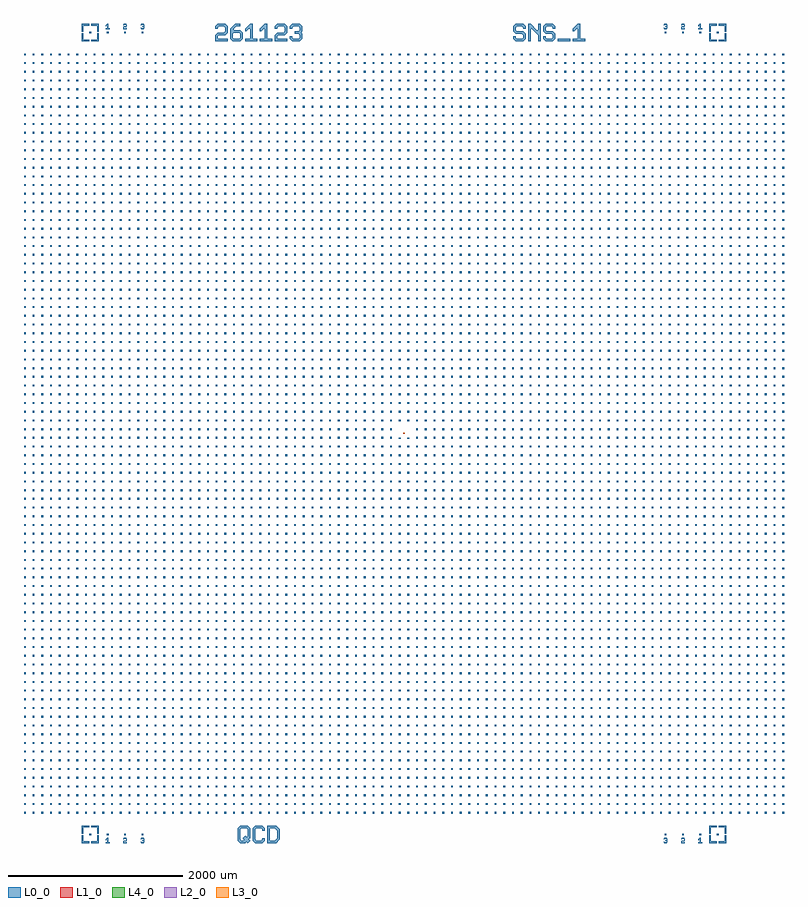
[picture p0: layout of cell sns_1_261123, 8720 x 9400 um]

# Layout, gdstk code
import gdstk
lib = gdstk.Library(unit=1e-6, precision=1e-09)
def R(c, l, rs):  # rectangles x0, y0, x1, y1
    for r in rs: c.add(gdstk.rectangle(r[:2], r[2:], *l))
def A(c, l, x, y, w, h, nx, ny, dx, dy):  # array of equal rectangles
    R(c, l, [(x+i*dx, y+j*dy, x+i*dx+w, y+j*dy+h) for i in range(nx) for j in range(ny)])
def P(c, l, *ps):  # polygons
    for p in ps: c.add(gdstk.Polygon(p, *l))
L0_0 = (0, 0)
L1_0 = (1, 0)
L2_0 = (2, 0)
L3_0 = (3, 0)
L4_0 = (4, 0)

sns_1_261123 = lib.new_cell('sns_1_261123')
A(sns_1_261123, L0_0, -3610, -4610, 20, 20, 4, 2, 200, 9200)
A(sns_1_261123, L0_0, 2990, -4610, 20, 20, 4, 2, 200, 9200)
A(sns_1_261123, L0_0, -4360, -4360, 20, 20, 88, 43, 100, 100)
A(sns_1_261123, L0_0, -4360, -60, 20, 20, 43, 2, 100, 100)
A(sns_1_261123, L0_0, 140, -60, 20, 20, 43, 2, 100, 100)
A(sns_1_261123, L0_0, -4360, 140, 20, 20, 88, 43, 100, 100)
R(sns_1_261123, L0_0, [(-60,-60,-40,-50), (40,-60,60,-50), (1766.667,4500,1909.524,4528.571)])
P(sns_1_261123, L0_0, [(3610,4500),(3610,4520),(3680,4520),(3680,4590),(3700,4590),(3700,4500)],
  [(3680,4610),(3680,4680),(3610,4680),(3610,4700),(3700,4700),(3700,4610)],
  [(3500,4610),(3500,4700),(3590,4700),(3590,4680),(3520,4680),(3520,4610)],
  [(3500,4500),(3500,4590),(3520,4590),(3520,4520),(3590,4520),(3590,4500)],
  [(3378.572,4640),(3378.572,4648.571),(3395.715,4648.571),(3395.715,4682.857),(3391.429,4682.857),(3382.858,4674.286),(3378.572,4674.286),(3378.572,4682.857),(3395.715,4700),(3404.286,4700),(3404.286,4648.571),(3421.429,4648.571),(3421.429,4640)],
  [(3178.572,4640),(3178.572,4661.429),(3187.143,4670),(3208.572,4670),(3212.858,4674.286),(3212.858,4687.143),(3208.572,4691.429),(3191.429,4691.429),(3187.143,4687.143),(3187.143,4682.857),(3178.572,4682.857),(3178.572,4691.429),(3187.143,4700),(3212.858,4700),(3221.429,4691.429),(3221.429,4670),(3212.858,4661.429),(3191.429,4661.429),(3187.143,4657.143),(3187.143,4648.571),(3221.429,4648.571),(3221.429,4640)],
  [(2987.143,4640),(2978.572,4648.571),(2978.572,4657.143),(2987.143,4657.143),(2987.143,4652.857),(2991.429,4648.571),(3008.572,4648.571),(3012.858,4652.857),(3012.858,4661.429),(3008.572,4665.714),(2995.715,4665.714),(2995.715,4674.286),(3008.572,4674.286),(3012.858,4678.571),(3012.858,4687.143),(3008.572,4691.429),(2991.429,4691.429),(2987.143,4687.143),(2987.143,4682.857),(2978.572,4682.857),(2978.572,4691.429),(2987.143,4700),(3012.858,4700),(3021.429,4691.429),(3021.429,4674.286),(3017.143,4670),(3021.429,4665.714),(3021.429,4648.571),(3012.858,4640)],
  [(1623.809,4500),(1595.238,4528.571),(1595.238,4557.143),(1623.809,4557.143),(1623.809,4542.857),(1638.095,4528.571),(1695.238,4528.571),(1709.524,4542.857),(1709.524,4571.429),(1695.238,4585.714),(1623.809,4585.714),(1595.238,4614.286),(1595.238,4671.428),(1623.809,4700),(1709.524,4700),(1738.095,4671.428),(1738.095,4642.857),(1709.524,4642.857),(1709.524,4657.143),(1695.238,4671.428),(1638.095,4671.428),(1623.809,4657.143),(1623.809,4628.571),(1638.095,4614.286),(1709.524,4614.286),(1738.095,4585.714),(1738.095,4528.571),(1709.524,4500)],
  [(1938.095,4500),(1938.095,4528.571),(1995.238,4528.571),(1995.238,4642.857),(1980.952,4642.857),(1952.381,4614.286),(1938.095,4614.286),(1938.095,4642.857),(1995.238,4700),(2023.809,4700),(2023.809,4528.571),(2080.952,4528.571),(2080.952,4500)],
  [(1280.952,4500),(1252.381,4528.571),(1252.381,4557.143),(1280.952,4557.143),(1280.952,4542.857),(1295.238,4528.571),(1352.381,4528.571),(1366.667,4542.857),(1366.667,4571.429),(1352.381,4585.714),(1280.952,4585.714),(1252.381,4614.286),(1252.381,4671.428),(1280.952,4700),(1366.667,4700),(1395.238,4671.428),(1395.238,4642.857),(1366.667,4642.857),(1366.667,4657.143),(1352.381,4671.428),(1295.238,4671.428),(1280.952,4657.143),(1280.952,4628.571),(1295.238,4614.286),(1366.667,4614.286),(1395.238,4585.714),(1395.238,4528.571),(1366.667,4500)],
  [(1423.81,4500),(1423.81,4700),(1452.381,4700),(1523.81,4628.571),(1538.096,4628.571),(1538.096,4700),(1566.667,4700),(1566.667,4500),(1538.096,4500),(1538.096,4571.429),(1466.667,4642.857),(1452.381,4642.857),(1452.381,4500)],
  [(-1652.381,4500),(-1652.381,4528.571),(-1595.238,4528.571),(-1595.238,4642.857),(-1609.524,4642.857),(-1638.095,4614.286),(-1652.381,4614.286),(-1652.381,4642.857),(-1595.238,4700),(-1566.667,4700),(-1566.667,4528.571),(-1509.524,4528.571),(-1509.524,4500)],
  [(-1480.953,4500),(-1480.953,4571.429),(-1452.382,4600),(-1380.953,4600),(-1366.667,4614.286),(-1366.667,4657.143),(-1380.953,4671.428),(-1438.096,4671.428),(-1452.382,4657.143),(-1452.382,4642.857),(-1480.953,4642.857),(-1480.953,4671.428),(-1452.382,4700),(-1366.667,4700),(-1338.096,4671.428),(-1338.096,4600),(-1366.667,4571.429),(-1438.096,4571.429),(-1452.382,4557.143),(-1452.382,4528.571),(-1338.096,4528.571),(-1338.096,4500)],
  [(-1280.953,4500),(-1309.524,4528.571),(-1309.524,4557.143),(-1280.953,4557.143),(-1280.953,4542.857),(-1266.667,4528.571),(-1209.524,4528.571),(-1195.238,4542.857),(-1195.238,4571.429),(-1209.524,4585.714),(-1252.381,4585.714),(-1252.381,4614.286),(-1209.524,4614.286),(-1195.238,4628.571),(-1195.238,4657.143),(-1209.524,4671.428),(-1266.667,4671.428),(-1280.953,4657.143),(-1280.953,4642.857),(-1309.524,4642.857),(-1309.524,4671.428),(-1280.953,4700),(-1195.238,4700),(-1166.667,4671.428),(-1166.667,4614.286),(-1180.953,4600),(-1166.667,4585.714),(-1166.667,4528.571),(-1195.238,4500)],
  [(-2166.666,4500),(-2166.666,4571.429),(-2138.095,4600),(-2066.666,4600),(-2052.38,4614.286),(-2052.38,4657.143),(-2066.666,4671.428),(-2123.809,4671.428),(-2138.095,4657.143),(-2138.095,4642.857),(-2166.666,4642.857),(-2166.666,4671.428),(-2138.095,4700),(-2052.38,4700),(-2023.809,4671.428),(-2023.809,4600),(-2052.38,4571.429),(-2123.809,4571.429),(-2138.095,4557.143),(-2138.095,4528.571),(-2023.809,4528.571),(-2023.809,4500)],
  [(-1966.667,4500),(-1995.238,4528.571),(-1995.238,4642.857),(-1938.095,4700),(-1880.952,4700),(-1880.952,4671.428),(-1923.809,4671.428),(-1952.381,4642.857),(-1952.381,4628.571),(-1880.952,4628.571),(-1852.381,4600),(-1952.381,4600),(-1966.667,4585.714),(-1966.667,4542.857),(-1952.381,4528.571),(-1895.238,4528.571),(-1880.952,4542.857),(-1880.952,4585.714),(-1895.238,4600),(-1852.381,4600),(-1852.381,4528.571),(-1880.952,4500)],
  [(-1823.809,4500),(-1823.809,4528.571),(-1766.666,4528.571),(-1766.666,4642.857),(-1780.952,4642.857),(-1809.523,4614.286),(-1823.809,4614.286),(-1823.809,4642.857),(-1766.666,4700),(-1738.095,4700),(-1738.095,4528.571),(-1680.952,4528.571),(-1680.952,4500)],
  [(-3012.858,4640),(-3021.429,4648.571),(-3021.429,4657.143),(-3012.858,4657.143),(-3012.858,4652.857),(-3008.572,4648.571),(-2991.429,4648.571),(-2987.143,4652.857),(-2987.143,4661.429),(-2991.429,4665.714),(-3004.286,4665.714),(-3004.286,4674.286),(-2991.429,4674.286),(-2987.143,4678.571),(-2987.143,4687.143),(-2991.429,4691.429),(-3008.572,4691.429),(-3012.858,4687.143),(-3012.858,4682.857),(-3021.429,4682.857),(-3021.429,4691.429),(-3012.858,4700),(-2987.143,4700),(-2978.572,4691.429),(-2978.572,4674.286),(-2982.858,4670),(-2978.572,4665.714),(-2978.572,4648.571),(-2987.143,4640)],
  [(-3221.429,4640),(-3221.429,4661.429),(-3212.858,4670),(-3191.429,4670),(-3187.143,4674.286),(-3187.143,4687.143),(-3191.429,4691.429),(-3208.572,4691.429),(-3212.858,4687.143),(-3212.858,4682.857),(-3221.429,4682.857),(-3221.429,4691.429),(-3212.858,4700),(-3187.143,4700),(-3178.572,4691.429),(-3178.572,4670),(-3187.143,4661.429),(-3208.572,4661.429),(-3212.858,4657.143),(-3212.858,4648.571),(-3178.572,4648.571),(-3178.572,4640)],
  [(-3590,4500),(-3590,4520),(-3520,4520),(-3520,4590),(-3500,4590),(-3500,4500)],
  [(-3520,4610),(-3520,4680),(-3590,4680),(-3590,4700),(-3500,4700),(-3500,4610)],
  [(-3421.429,4640),(-3421.429,4648.571),(-3404.286,4648.571),(-3404.286,4682.857),(-3408.572,4682.857),(-3417.143,4674.286),(-3421.429,4674.286),(-3421.429,4682.857),(-3404.286,4700),(-3395.715,4700),(-3395.715,4648.571),(-3378.572,4648.571),(-3378.572,4640)],
  [(-3700,4610),(-3700,4700),(-3610,4700),(-3610,4680),(-3680,4680),(-3680,4610)],
  [(-3700,4500),(-3700,4590),(-3680,4590),(-3680,4520),(-3610,4520),(-3610,4500)],
  [(-3590,-4700),(-3590,-4680),(-3520,-4680),(-3520,-4610),(-3500,-4610),(-3500,-4700)],
  [(-3700,-4590),(-3700,-4500),(-3610,-4500),(-3610,-4520),(-3680,-4520),(-3680,-4590)],
  [(-3520,-4590),(-3520,-4520),(-3590,-4520),(-3590,-4500),(-3500,-4500),(-3500,-4590)],
  [(-3700,-4700),(-3700,-4610),(-3680,-4610),(-3680,-4680),(-3610,-4680),(-3610,-4700)],
  [(-3421.429,-4700),(-3421.429,-4691.429),(-3404.286,-4691.429),(-3404.286,-4657.143),(-3408.572,-4657.143),(-3417.143,-4665.714),(-3421.429,-4665.714),(-3421.429,-4657.143),(-3404.286,-4640),(-3395.715,-4640),(-3395.715,-4691.429),(-3378.572,-4691.429),(-3378.572,-4700)],
  [(-3012.858,-4700),(-3021.429,-4691.429),(-3021.429,-4682.857),(-3012.858,-4682.857),(-3012.858,-4687.143),(-3008.572,-4691.429),(-2991.429,-4691.429),(-2987.143,-4687.143),(-2987.143,-4678.571),(-2991.429,-4674.286),(-3004.286,-4674.286),(-3004.286,-4665.714),(-2991.429,-4665.714),(-2987.143,-4661.429),(-2987.143,-4652.857),(-2991.429,-4648.571),(-3008.572,-4648.571),(-3012.858,-4652.857),(-3012.858,-4657.143),(-3021.429,-4657.143),(-3021.429,-4648.571),(-3012.858,-4640),(-2987.143,-4640),(-2978.572,-4648.571),(-2978.572,-4665.714),(-2982.858,-4670),(-2978.572,-4674.286),(-2978.572,-4691.429),(-2987.143,-4700)],
  [(-3221.429,-4700),(-3221.429,-4678.571),(-3212.858,-4670),(-3191.429,-4670),(-3187.143,-4665.714),(-3187.143,-4652.857),(-3191.429,-4648.571),(-3208.572,-4648.571),(-3212.858,-4652.857),(-3212.858,-4657.143),(-3221.429,-4657.143),(-3221.429,-4648.571),(-3212.858,-4640),(-3187.143,-4640),(-3178.572,-4648.571),(-3178.572,-4670),(-3187.143,-4678.571),(-3208.572,-4678.571),(-3212.858,-4682.857),(-3212.858,-4691.429),(-3178.572,-4691.429),(-3178.572,-4700)],
  [(-1709.524,-4700),(-1738.095,-4671.429),(-1738.095,-4528.572),(-1709.524,-4500),(-1623.809,-4500),(-1595.238,-4528.572),(-1595.238,-4557.143),(-1623.809,-4557.143),(-1623.809,-4542.857),(-1638.095,-4528.572),(-1695.238,-4528.572),(-1709.524,-4542.857),(-1709.524,-4657.143),(-1695.238,-4671.429),(-1638.095,-4671.429),(-1623.809,-4657.143),(-1623.809,-4642.857),(-1595.238,-4642.857),(-1595.238,-4671.429),(-1623.809,-4700)],
  [(-1880.953,-4700),(-1909.524,-4671.429),(-1909.524,-4528.572),(-1880.953,-4500),(-1795.238,-4500),(-1766.667,-4528.572),(-1866.667,-4528.572),(-1880.953,-4542.857),(-1880.953,-4657.143),(-1866.667,-4671.429),(-1838.095,-4671.429),(-1838.095,-4657.143),(-1852.381,-4642.857),(-1823.81,-4614.286),(-1809.524,-4628.571),(-1795.238,-4628.571),(-1795.238,-4542.857),(-1809.524,-4528.572),(-1766.667,-4528.572),(-1766.667,-4642.857),(-1780.953,-4657.143),(-1766.667,-4671.429),(-1795.238,-4700),(-1809.524,-4685.714),(-1823.81,-4700)],
  [(-1566.667,-4700),(-1566.667,-4500),(-1466.667,-4500),(-1438.096,-4528.572),(-1538.096,-4528.572),(-1538.096,-4671.429),(-1480.953,-4671.429),(-1452.381,-4642.857),(-1452.381,-4557.143),(-1480.953,-4528.572),(-1438.096,-4528.572),(-1423.81,-4542.857),(-1423.81,-4657.143),(-1466.667,-4700)],
  [(3178.572,-4700),(3178.572,-4678.571),(3187.143,-4670),(3208.572,-4670),(3212.858,-4665.714),(3212.858,-4652.857),(3208.572,-4648.571),(3191.429,-4648.571),(3187.143,-4652.857),(3187.143,-4657.143),(3178.572,-4657.143),(3178.572,-4648.571),(3187.143,-4640),(3212.858,-4640),(3221.429,-4648.571),(3221.429,-4670),(3212.858,-4678.571),(3191.429,-4678.571),(3187.143,-4682.857),(3187.143,-4691.429),(3221.429,-4691.429),(3221.429,-4700)],
  [(2987.143,-4700),(2978.572,-4691.429),(2978.572,-4682.857),(2987.143,-4682.857),(2987.143,-4687.143),(2991.429,-4691.429),(3008.572,-4691.429),(3012.858,-4687.143),(3012.858,-4678.571),(3008.572,-4674.286),(2995.715,-4674.286),(2995.715,-4665.714),(3008.572,-4665.714),(3012.858,-4661.429),(3012.858,-4652.857),(3008.572,-4648.571),(2991.429,-4648.571),(2987.143,-4652.857),(2987.143,-4657.143),(2978.572,-4657.143),(2978.572,-4648.571),(2987.143,-4640),(3012.858,-4640),(3021.429,-4648.571),(3021.429,-4665.714),(3017.143,-4670),(3021.429,-4674.286),(3021.429,-4691.429),(3012.858,-4700)],
  [(3500,-4700),(3500,-4610),(3520,-4610),(3520,-4680),(3590,-4680),(3590,-4700)],
  [(3610,-4700),(3610,-4680),(3680,-4680),(3680,-4610),(3700,-4610),(3700,-4700)],
  [(3500,-4590),(3500,-4500),(3590,-4500),(3590,-4520),(3520,-4520),(3520,-4590)],
  [(3680,-4590),(3680,-4520),(3610,-4520),(3610,-4500),(3700,-4500),(3700,-4590)],
  [(3378.572,-4700),(3378.572,-4691.429),(3395.715,-4691.429),(3395.715,-4657.143),(3391.429,-4657.143),(3382.858,-4665.714),(3378.572,-4665.714),(3378.572,-4657.143),(3395.715,-4640),(3404.286,-4640),(3404.286,-4691.429),(3421.429,-4691.429),(3421.429,-4700)])
P(sns_1_261123, L1_0, [(-11,0),(-11,1.35),(-3.35,1.35),(-3.35,4.35),(-11,4.35),(-11,10),(3.35,10),(3.35,6.25),(6.35,6.25),(6.35,10),(11,10),(11,0),(6.35,0),(6.35,3.75),(3.35,3.75),(3.35,0)])
R(sns_1_261123, L2_0, [(-0.05,3.25,0.05,6.75), (-1.05,4.25,4.35,4.55), (-4.35,4.85,1.05,5.15), (-1.05,5.45,5.85,5.75)])
R(sns_1_261123, L3_0, [(-0.15,2.45,0.15,3.45), (-1.85,4.15,-0.85,4.65), (4.15,4.15,5.15,4.65), (-5.15,4.75,-4.15,5.25), (0.85,4.75,1.85,5.25), (-1.85,5.35,-0.85,5.85), (5.65,5.35,6.65,5.85), (-0.15,6.55,0.15,7.55)])
R(sns_1_261123, L4_0, [(3.35,2.25,4.85,5.05), (-4.85,2.85,-3.35,5.65), (4.85,4.95,6.35,7.75)])

lib.write_gds('sns_1_261123.gds')
